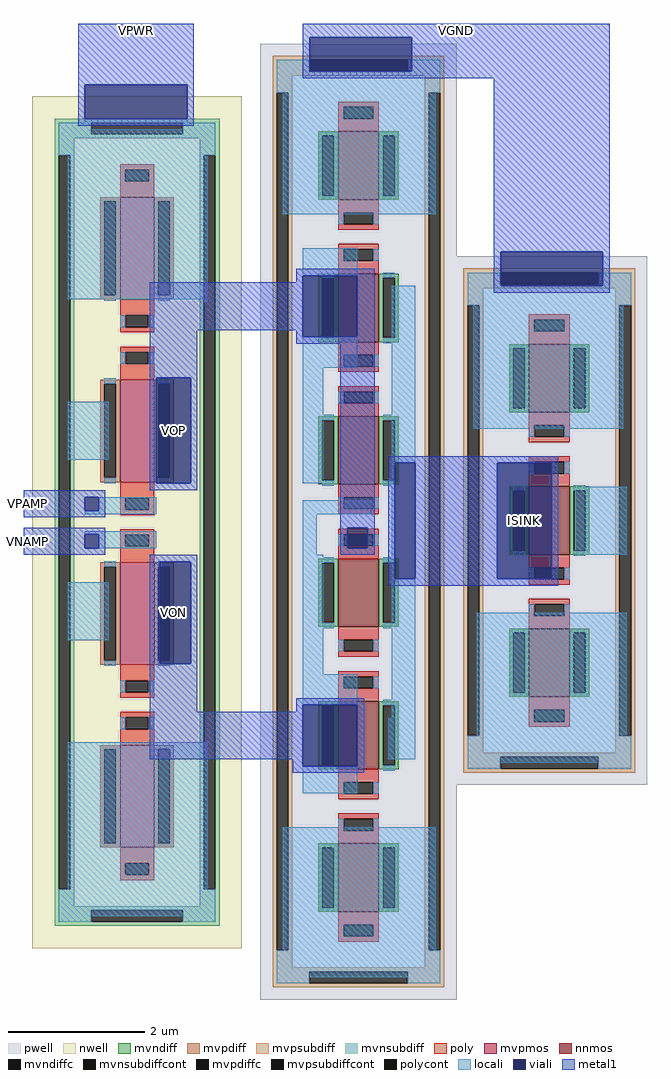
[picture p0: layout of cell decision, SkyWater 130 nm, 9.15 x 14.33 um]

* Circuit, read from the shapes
.subckt decision ISINK VGND VNAMP VON VOP VPAMP VPWR
XM1 VGND VGND VGND VGND sky130_fd_pr__nfet_03v3_nvt w=1 l=0.6 m=4
XM2 ISINK VON VON VGND sky130_fd_pr__nfet_03v3_nvt w=1 l=0.6
XM3 ISINK VOP VON VGND sky130_fd_pr__nfet_03v3_nvt w=1 l=0.6
XM4 ISINK VON VOP VGND sky130_fd_pr__nfet_03v3_nvt w=1 l=0.6
XM5 ISINK VOP VOP VGND sky130_fd_pr__nfet_03v3_nvt w=1 l=0.6
XM6 VGND ISINK ISINK VGND sky130_fd_pr__nfet_03v3_nvt w=1 l=0.6
XM7 VPWR VPWR VPWR VPWR sky130_fd_pr__pfet_g5v0d10v5 w=1.5 l=0.5 m=2
XM8 VON VNAMP VPWR VPWR sky130_fd_pr__pfet_g5v0d10v5 w=1.5 l=0.5
XM9 VOP VPAMP VPWR VPWR sky130_fd_pr__pfet_g5v0d10v5 w=1.5 l=0.5
.ends

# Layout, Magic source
magic
tech sky130A
magscale 1 10000
<< nwell >>
rect 1718137 3700000 1850000 5200000
<< pwell >>
rect 3500000 4800000 3800000 5300000
rect 3500000 3500000 4300000 3550000
rect 3500000 1800000 3900000 3400000
<< locali >>
rect 3200000 12400000 3600000 12500000
rect 5100000 12400000 5450000 12500000
rect 300000 11600000 1800000 11700000
rect 50000 9050000 2100000 11550000
rect 3200000 10300000 5450000 12400000
rect 2050000 9000000 2100000 9050000
rect 3500000 9400000 4300000 9800000
rect 6000000 9250000 6400000 9350000
rect 7900000 9250000 8200000 9350000
rect 3500000 8050000 4300000 8500000
rect 50000 6700000 650000 7550000
rect 3500000 6350000 3800000 8050000
rect 4800000 6650000 5150000 9250000
rect 6000000 7150000 8200000 9250000
rect 500000 5950000 1350000 6150000
rect 300000 5900000 1350000 5950000
rect 3500000 6000000 4600000 6100000
rect 3500000 5900000 4500000 6000000
rect 300000 5600000 1350000 5650000
rect 500000 5400000 1350000 5600000
rect 3500000 5300000 3700000 5900000
rect 50000 4050000 650000 4900000
rect 3500000 3550000 3800000 5300000
rect 4800000 4950000 4850000 6650000
rect 7500000 5300000 8250000 6300000
rect 3500000 3100000 4300000 3550000
rect 50000 0 2100000 2550000
rect 4800000 2900000 5150000 4950000
rect 4750000 2300000 5150000 2900000
rect 6050000 2250000 8250000 4450000
rect 3500000 1800000 4300000 2200000
rect 3200000 -900000 5450000 1300000
<< viali >>
rect 3600000 12400000 5100000 12900000
rect 300000 11700000 1800000 12200000
rect 3500000 8500000 4300000 9400000
rect 6400000 9250000 7900000 9750000
rect 1350000 6350000 1850000 7900000
rect 300000 5950000 500000 6150000
rect 300000 5400000 500000 5600000
rect 4150000 5400000 4450000 5700000
rect 1400000 3700000 1850000 5200000
rect 4850000 4950000 5150000 6650000
rect 6350000 4950000 7150000 6650000
rect 3500000 2200000 4300000 3100000
<< metal1 >>
rect 200000 12200000 1900000 13100000
rect 3500000 12900000 8000000 13100000
rect 3500000 12400000 3600000 12900000
rect 5100000 12400000 8000000 12900000
rect 3500000 12300000 8000000 12400000
rect 200000 11700000 300000 12200000
rect 1800000 11700000 1900000 12200000
rect 200000 11600000 1900000 11700000
rect 6300000 9750000 8000000 12300000
rect 3400000 9400000 4550000 9500000
rect 3400000 9300000 3500000 9400000
rect 1250000 8600000 3500000 9300000
rect 1250000 7900000 1950000 8600000
rect 3400000 8500000 3500000 8600000
rect 4300000 8500000 4550000 9400000
rect 6300000 9250000 6400000 9750000
rect 7900000 9250000 8000000 9750000
rect 6300000 9150000 8000000 9250000
rect 3400000 8400000 4550000 8500000
rect 1250000 6350000 1350000 7900000
rect 1850000 6350000 1950000 7900000
rect 1250000 6250000 1950000 6350000
rect -600000 6150000 600000 6250000
rect -600000 5950000 300000 6150000
rect 500000 5950000 600000 6150000
rect -600000 5850000 600000 5950000
rect 4050000 5700000 4550000 8400000
rect -600000 5600000 600000 5700000
rect -600000 5400000 300000 5600000
rect 500000 5400000 600000 5600000
rect -600000 5300000 600000 5400000
rect 4050000 5400000 4150000 5700000
rect 4450000 5400000 4550000 5700000
rect 4050000 5300000 4550000 5400000
rect 4750000 6650000 7250000 6750000
rect 1250000 5200000 1950000 5300000
rect 1250000 3700000 1400000 5200000
rect 1850000 3700000 1950000 5200000
rect 4750000 4950000 4850000 6650000
rect 5150000 4950000 6350000 6650000
rect 7150000 4950000 7250000 6650000
rect 4750000 4850000 7250000 4950000
rect 1250000 3000000 1950000 3700000
rect 3400000 3100000 4400000 3200000
rect 3400000 3000000 3500000 3100000
rect 1250000 2300000 3500000 3000000
rect 3350000 2200000 3500000 2300000
rect 4300000 2200000 4400000 3100000
rect 3350000 2100000 4400000 2200000
use sky130_fd_pr__pfet_g5v0d10v5_CABTE7  sky130_fd_pr__pfet_g5v0d10v5_CABTE7_0
transform 1 0 1065000 0 1 5780000
box -1540000 -6255000 1540000 6255000
use sky130_fd_pr__nfet_03v3_nvt_BKHJCF  sky130_fd_pr__nfet_03v3_nvt_BKHJCF_0
transform 1 0 4315000 0 1 5790000
box -1440000 -7015000 1440000 7015000
use sky130_fd_pr__nfet_03v3_nvt_NAHJCF  sky130_fd_pr__nfet_03v3_nvt_NAHJCF_0
transform 1 0 7115000 0 1 5805000
box -1440000 -3880000 1440000 3880000
<< labels >>
rlabel metal1 200000 12900000 1900000 13100000 1 VPWR
rlabel metal1 1250000 6250000 1950000 8000000 1 VOP
rlabel metal1 1250000 3600000 1950000 5300000 1 VON
rlabel metal1 -600000 5850000 -500000 6250000 1 VPAMP
rlabel metal1 -600000 5300000 -500000 5700000 1 VNAMP
rlabel metal1 6250000 4850000 7250000 6750000 1 ISINK
rlabel metal1 3500000 12900000 8000000 13100000 1 VGND
<< end >>

# cell sky130_fd_pr__pfet_g5v0d10v5_CABTE7: kit device sky130_fd_pr__pfet_g5v0d10v5, w 1.5 l 0.50 m 4 nf 1 diffcov 100 polycov 100 guard 1 glc 1 grc 1 gtc 1 gbc 1 tbcov 100 rlcov 100 topc 1 botc 1 poverlap 0 doverlap 1 lmin 0.50 wmin 0.42 compatible {sky130_fd_pr__pfet_01v8 sky130_fd_pr__pfet_01v8_lvt sky130_fd_pr__pfet_01v8_hvt sky130_fd_pr__pfet_g5v0d10v5} full_metal 1 viasrc 100 viadrn 100 viagate 100 viagb 0 viagr 0 viagl 0 viagt 0

# cell sky130_fd_pr__nfet_03v3_nvt_BKHJCF: kit device sky130_fd_pr__nfet_03v3_nvt, w 1 l 0.6 m 6 nf 1 diffcov 100 polycov 100 guard 1 glc 1 grc 1 gtc 1 gbc 1 tbcov 100 rlcov 100 topc 1 botc 1 poverlap 0 doverlap 1 lmin 0.50 wmin 0.42 compatible {sky130_fd_pr__nfet_01v8 sky130_fd_pr__nfet_01v8_lvt sky130_fd_bs_flash__special_sonosfet_star sky130_fd_pr__nfet_g5v0d10v5 sky130_fd_pr__nfet_05v0_nvt sky130_fd_pr__nfet_03v3_nvt} full_metal 1 viasrc 100 viadrn 100 viagate 100 viagb 0 viagr 0 viagl 0 viagt 0

# cell sky130_fd_pr__nfet_03v3_nvt_NAHJCF: kit device sky130_fd_pr__nfet_03v3_nvt, w 1 l 0.6 m 3 nf 1 diffcov 100 polycov 100 guard 1 glc 1 grc 1 gtc 1 gbc 1 tbcov 100 rlcov 100 topc 1 botc 1 poverlap 0 doverlap 1 lmin 0.50 wmin 0.42 compatible {sky130_fd_pr__nfet_01v8 sky130_fd_pr__nfet_01v8_lvt sky130_fd_bs_flash__special_sonosfet_star sky130_fd_pr__nfet_g5v0d10v5 sky130_fd_pr__nfet_05v0_nvt sky130_fd_pr__nfet_03v3_nvt} full_metal 1 viasrc 100 viadrn 100 viagate 100 viagb 0 viagr 0 viagl 0 viagt 0
